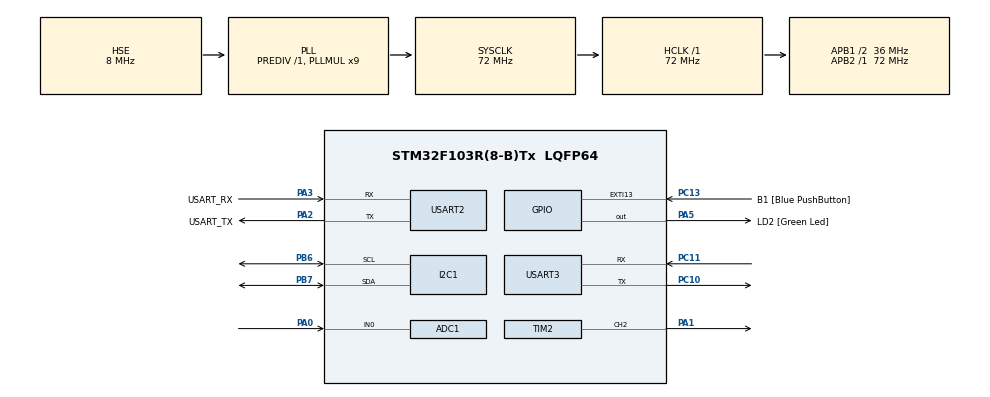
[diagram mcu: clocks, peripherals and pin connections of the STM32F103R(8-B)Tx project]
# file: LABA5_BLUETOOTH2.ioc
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ADC1.Channel-2\#ChannelRegularConversion=ADC_CHANNEL_0
ADC1.ContinuousConvMode=DISABLE
ADC1.ExternalTrigConv=ADC_EXTERNALTRIGCONV_T2_CC2
ADC1.NbrOfConversion=1
ADC1.NbrOfConversionFlag=1
ADC1.Rank-2\#ChannelRegularConversion=1
ADC1.SamplingTime-2\#ChannelRegularConversion=ADC_SAMPLETIME_239CYCLES_5
ADC1.master=1
Dma.ADC1.1.Direction=DMA_PERIPH_TO_MEMORY
Dma.ADC1.1.Instance=DMA1_Channel1
Dma.ADC1.1.MemDataAlignment=DMA_MDATAALIGN_HALFWORD
Dma.ADC1.1.MemInc=DMA_MINC_ENABLE
Dma.ADC1.1.Mode=DMA_CIRCULAR
Dma.ADC1.1.PeriphDataAlignment=DMA_PDATAALIGN_HALFWORD
Dma.ADC1.1.PeriphInc=DMA_PINC_DISABLE
Dma.ADC1.1.Priority=DMA_PRIORITY_MEDIUM
Dma.Request0=USART2_TX
Dma.Request1=ADC1
Dma.Request2=USART3_RX
Dma.Request3=USART3_TX
Dma.USART2_TX.0.Direction=DMA_MEMORY_TO_PERIPH
Dma.USART2_TX.0.Instance=DMA1_Channel7
Dma.USART2_TX.0.MemDataAlignment=DMA_MDATAALIGN_BYTE
Dma.USART2_TX.0.MemInc=DMA_MINC_ENABLE
Dma.USART2_TX.0.Mode=DMA_NORMAL
Dma.USART2_TX.0.PeriphDataAlignment=DMA_PDATAALIGN_BYTE
Dma.USART2_TX.0.PeriphInc=DMA_PINC_DISABLE
Dma.USART2_TX.0.Priority=DMA_PRIORITY_LOW
Dma.USART3_RX.2.Direction=DMA_PERIPH_TO_MEMORY
Dma.USART3_RX.2.Instance=DMA1_Channel3
Dma.USART3_RX.2.MemDataAlignment=DMA_MDATAALIGN_BYTE
Dma.USART3_RX.2.MemInc=DMA_MINC_ENABLE
Dma.USART3_RX.2.Mode=DMA_CIRCULAR
Dma.USART3_RX.2.PeriphDataAlignment=DMA_PDATAALIGN_BYTE
Dma.USART3_RX.2.PeriphInc=DMA_PINC_DISABLE
Dma.USART3_RX.2.Priority=DMA_PRIORITY_LOW
Dma.USART3_TX.3.Direction=DMA_MEMORY_TO_PERIPH
Dma.USART3_TX.3.Instance=DMA1_Channel2
Dma.USART3_TX.3.MemDataAlignment=DMA_MDATAALIGN_BYTE
Dma.USART3_TX.3.MemInc=DMA_MINC_ENABLE
Dma.USART3_TX.3.Mode=DMA_NORMAL
Dma.USART3_TX.3.PeriphDataAlignment=DMA_PDATAALIGN_BYTE
Dma.USART3_TX.3.PeriphInc=DMA_PINC_DISABLE
Dma.USART3_TX.3.Priority=DMA_PRIORITY_LOW
Mcu.Family=STM32F1
Mcu.Name=STM32F103R(8-B)Tx
Mcu.Package=LQFP64
NVIC.DMA1_Channel1_IRQn=true\:0\:0\:false\:false\:true\:false\:true\:true
NVIC.DMA1_Channel2_IRQn=true\:0\:0\:false\:false\:true\:false\:true\:true
NVIC.DMA1_Channel3_IRQn=true\:0\:0\:false\:false\:true\:false\:true\:true
NVIC.DMA1_Channel7_IRQn=true\:0\:0\:false\:false\:true\:false\:true\:true
NVIC.EXTI15_10_IRQn=true\:0\:0\:false\:false\:true\:true\:true\:true
NVIC.PriorityGroup=NVIC_PRIORITYGROUP_4
NVIC.TIM2_IRQn=true\:0\:0\:false\:false\:true\:true\:true\:true
NVIC.USART2_IRQn=true\:0\:0\:false\:false\:true\:true\:true\:true
NVIC.USART3_IRQn=true\:0\:0\:false\:false\:true\:true\:true\:true
PA0-WKUP.Signal=ADCx_IN0
PA1.Signal=S_TIM2_CH2
PA13.GPIO_Label=TMS
PA13.Mode=Serial_Wire
PA13.Signal=SYS_JTMS-SWDIO
PA14.GPIO_Label=TCK
PA14.Mode=Serial_Wire
PA14.Signal=SYS_JTCK-SWCLK
PA2.GPIO_Label=USART_TX
PA2.GPIO_Mode=GPIO_MODE_AF_PP
PA2.GPIO_PuPd=GPIO_NOPULL
PA2.GPIO_Speed=GPIO_SPEED_FREQ_LOW
PA2.Mode=Asynchronous
PA2.Signal=USART2_TX
PA3.GPIO_Label=USART_RX
PA3.GPIO_Mode=GPIO_MODE_AF_PP
PA3.GPIO_PuPd=GPIO_NOPULL
PA3.GPIO_Speed=GPIO_SPEED_FREQ_LOW
PA3.Mode=Asynchronous
PA3.Signal=USART2_RX
PA5.GPIO_Label=LD2 [Green Led]
PA5.GPIO_ModeDefaultOutputPP=GPIO_MODE_OUTPUT_PP
PA5.GPIO_PuPd=GPIO_NOPULL
PA5.GPIO_Speed=GPIO_SPEED_FREQ_LOW
PA5.Signal=GPIO_Output
PB3.GPIO_Label=SWO
PB3.Signal=SYS_JTDO-TRACESWO
PB6.Mode=I2C
PB6.Signal=I2C1_SCL
PB7.Mode=I2C
PB7.Signal=I2C1_SDA
PC10.Mode=Asynchronous
PC10.Signal=USART3_TX
PC11.Mode=Asynchronous
PC11.Signal=USART3_RX
PC13-TAMPER-RTC.GPIO_Label=B1 [Blue PushButton]
PC13-TAMPER-RTC.GPIO_PuPd=GPIO_NOPULL
PC13-TAMPER-RTC.Signal=GPXTI13
PC14-OSC32_IN.Mode=LSE-External-Oscillator
PC14-OSC32_IN.Signal=RCC_OSC32_IN
PC15-OSC32_OUT.Mode=LSE-External-Oscillator
PC15-OSC32_OUT.Signal=RCC_OSC32_OUT
PD0-OSC_IN.Mode=HSE-External-Oscillator
PD0-OSC_IN.Signal=RCC_OSC_IN
PD1-OSC_OUT.Mode=HSE-External-Oscillator
PD1-OSC_OUT.Signal=RCC_OSC_OUT
ProjectManager.HeapSize=0x200
ProjectManager.StackSize=0x400
ProjectManager.TargetToolchain=MDK-ARM V5.32
RCC.ADCPresc=RCC_ADCPCLK2_DIV6
RCC.AHBFreq_Value=72000000
RCC.APB1CLKDivider=RCC_HCLK_DIV2
RCC.APB1Freq_Value=36000000
RCC.APB1TimFreq_Value=72000000
RCC.APB2Freq_Value=72000000
RCC.APB2TimFreq_Value=72000000
RCC.HCLKFreq_Value=72000000
RCC.PLLMUL=RCC_PLL_MUL9
RCC.PLLSourceVirtual=RCC_PLLSOURCE_HSE
RCC.RTCClockSelection=RCC_RTCCLKSOURCE_LSE
RCC.SYSCLKFreq_VALUE=72000000
RCC.SYSCLKSource=RCC_SYSCLKSOURCE_PLLCLK
RCC.USBFreq_Value=72000000
SH.ADCx_IN0.0=ADC1_IN0,IN0
SH.S_TIM2_CH2.0=TIM2_CH2,Output Compare2 CH2
TIM2.Channel-Output\ Compare2\ CH2=TIM_CHANNEL_2
TIM2.OCMode_2=TIM_OCMODE_TOGGLE
TIM2.Period=1632
TIM2.Pulse-Output\ Compare2\ CH2=1
TIM2.TIM_MasterOutputTrigger=TIM_TRGO_UPDATE
TIM2.TIM_MasterSlaveMode=TIM_MASTERSLAVEMODE_DISABLE
USART2.VirtualMode=VM_ASYNC
USART3.VirtualMode=VM_ASYNC
VP_TIM2_VS_ClockSourceINT.Mode=Internal
board=NUCLEO-F103RB

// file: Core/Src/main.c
/* USER CODE BEGIN Header */
/**
  ******************************************************************************
  * @file           : main.c
  * @brief          : FFT Audio Spectrum Analyzer with 16 frequency bands (44.1 kHz DMA) + Bluetooth
  ******************************************************************************
  */
/* USER CODE END Header */
#include "main.h"

/* USER CODE BEGIN Includes */
#include "lcd_i2c.h"
#include <string.h>
#include <stdio.h>
#include <math.h>
/* USER CODE END Includes */

/* USER CODE BEGIN PD */
#define FFT_SIZE 512
#define NUM_BANDS 16
#define PI 3.14159265358979323846f

#define TIM2_CLOCK_FREQ 72000000.0f
#define TIM2_PERIOD 1632
#define REAL_SAMPLE_RATE_VAL 44100.429f
float SAMPLE_RATE = REAL_SAMPLE_RATE_VAL;
float FREQ_RESOLUTION;
float CALIBRATION_FACTOR = 1.0f;

#define BT_CMD_START 'S'
#define BT_CMD_STOP  'T'
/* USER CODE END PD */

ADC_HandleTypeDef hadc1;
DMA_HandleTypeDef hdma_adc1;

I2C_HandleTypeDef hi2c1;

TIM_HandleTypeDef htim2;

UART_HandleTypeDef huart2;
UART_HandleTypeDef huart3;
DMA_HandleTypeDef hdma_usart2_tx;
DMA_HandleTypeDef hdma_usart3_rx;
DMA_HandleTypeDef hdma_usart3_tx;

/* USER CODE BEGIN PV */
uint16_t adc_dma_buffer[FFT_SIZE * 2];
volatile uint32_t adc_buffer_index = 0;
volatile uint8_t adc_buffer_ready = 0;

char uart_buffer[64];
volatile uint8_t dma_complete = 1;

volatile uint8_t sensitivity_mode = 0;
volatile uint8_t mode_changed = 0;
volatile uint32_t last_button_time = 0;

float fft_input[FFT_SIZE];
float fft_real[FFT_SIZE];
float fft_imag[FFT_SIZE];
float fft_magnitude[FFT_SIZE/2];

uint8_t bar_peaks[NUM_BANDS] = {0};
float bar_peaks_smooth[NUM_BANDS] = {0};

float cos_table[FFT_SIZE];
float sin_table[FFT_SIZE];

#define FREQ_AVERAGE_SIZE 2
float freq_history[FREQ_AVERAGE_SIZE] = {0};
uint8_t freq_history_index = 0;
uint8_t freq_history_count = 0;

float dc_offset = 2048.0f;
float alpha_dc = 0.95f;

float noise_floor[NUM_BANDS] = {0};
float noise_gate_threshold = 0.2f;
uint8_t noise_calibrated = 0;

uint8_t bar_chars[8][8] = {
    {0x00, 0x00, 0x00, 0x00, 0x00, 0x00, 0x00, 0x1F},
    {0x00, 0x00, 0x00, 0x00, 0x00, 0x00, 0x1F, 0x1F},
    {0x00, 0x00, 0x00, 0x00, 0x00, 0x1F, 0x1F, 0x1F},
    {0x00, 0x00, 0x00, 0x00, 0x1F, 0x1F, 0x1F, 0x1F},
    {0x00, 0x00, 0x00, 0x1F, 0x1F, 0x1F, 0x1F, 0x1F},
    {0x00, 0x00, 0x1F, 0x1F, 0x1F, 0x1F, 0x1F, 0x1F},
    {0x00, 0x1F, 0x1F, 0x1F, 0x1F, 0x1F, 0x1F, 0x1F},
    {0x1F, 0x1F, 0x1F, 0x1F, 0x1F, 0x1F, 0x1F, 0x1F}
};

uint16_t band_limits[NUM_BANDS + 1] = {0};

volatile uint8_t bt_recording = 0;
volatile uint8_t bt_rx_byte = 0;
volatile uint8_t bt_rx_buffer[64];
volatile uint8_t bt_rx_index = 0;
volatile uint8_t bt_cmd_received = 0;

void Recalculate_Band_Limits(void) {
    float min_freq = 80.0f;
    float max_freq = 8000.0f;

    float calibrated_sample_rate = SAMPLE_RATE * CALIBRATION_FACTOR;
    float nyquist = calibrated_sample_rate / 2.0f;
    if(max_freq > nyquist) max_freq = nyquist;

    float log_min = logf(min_freq);
    float log_max = logf(max_freq);

    for(int i = 0; i <= NUM_BANDS; i++) {
        float t = (float)i / (float)NUM_BANDS;
        float freq = expf(log_min + t * (log_max - log_min));
        uint16_t bin = (uint16_t)roundf(freq / FREQ_RESOLUTION);

        if(bin >= FFT_SIZE/2) {
            bin = FFT_SIZE/2 - 1;
        }

        if(i > 0 && bin <= band_limits[i-1]) {
            bin = band_limits[i-1] + 1;
        }

        if(bin > 255) {
            band_limits[i] = 255;
        } else {
            band_limits[i] = (uint8_t)bin;
        }
    }
}
/* USER CODE END PV */

void SystemClock_Config(void);
static void MX_GPIO_Init(void);
static void MX_DMA_Init(void);
static void MX_I2C1_Init(void);
static void MX_USART2_UART_Init(void);
static void MX_ADC1_Init(void);
static void MX_TIM2_Init(void);
static void MX_USART3_UART_Init(void);
/* USER CODE BEGIN PFP */
void Setup_Custom_Chars(void);
void Init_FFT_Tables(void);
void Perform_FFT(void);
void Calculate_Frequency_Bands(float* bands);
void Recalculate_Band_Limits(void);
void Calibrate_Frequency(float known_freq, float measured_freq);
float Parabolic_Interpolation(int peak_bin, float* magnitude);
float Logarithmic_Interpolation(int peak_bin, float* magnitude);
float Enhanced_Peak_Frequency(int peak_bin, float* magnitude);
float Average_Frequency(float new_freq);
void Send_Frequency_Bluetooth(float frequency);
void Process_Bluetooth_Command(uint8_t cmd);
/* USER CODE END PFP */

/* USER CODE BEGIN 0 */

void HAL_UART_TxCpltCallback(UART_HandleTypeDef *huart)
{
    if (huart->Instance == USART2) {
        dma_complete = 1;
    }
}

void HAL_GPIO_EXTI_Callback(uint16_t GPIO_Pin)
{
    if(GPIO_Pin == B1_Pin) {
        uint32_t current_time = HAL_GetTick();
        if ((current_time - last_button_time) > 250) {
            sensitivity_mode++;
            if (sensitivity_mode > 2) sensitivity_mode = 0;
            mode_changed = 1;
            last_button_time = current_time;
        }
    }
}

void HAL_ADC_ConvHalfCpltCallback(ADC_HandleTypeDef* hadc)
{
    if(hadc->Instance == ADC1) {
        adc_buffer_index = 0;
        adc_buffer_ready = 1;
    }
}

void HAL_ADC_ConvCpltCallback(ADC_HandleTypeDef* hadc)
{
    if(hadc->Instance == ADC1) {
        adc_buffer_index = FFT_SIZE;
        adc_buffer_ready = 1;
    }
}

void HAL_UART_RxCpltCallback(UART_HandleTypeDef *huart)
{
    if(huart->Instance == USART3) {
        uint8_t received_byte = bt_rx_byte;

        sprintf(uart_buffer, "[BT RX] 0x%02X ('%c')\r\n", received_byte,
                (received_byte >= 32 && received_byte < 127) ? received_byte : '?');
        HAL_UART_Transmit(&huart2, (uint8_t*)uart_buffer, strlen(uart_buffer), 100);

        if(received_byte == '\n' || received_byte == '\r') {
        } else {
            if(received_byte == 'S' || received_byte == 'T') {
                Process_Bluetooth_Command(received_byte);
            } else {
                sprintf(uart_buffer, "[BT] Unknown byte: 0x%02X\r\n", received_byte);
                HAL_UART_Transmit(&huart2, (uint8_t*)uart_buffer, strlen(uart_buffer), 100);
            }
        }

        HAL_UART_Receive_IT(&huart3, (uint8_t*)&bt_rx_byte, 1);
    }
}

void Setup_Custom_Chars(void)
{
    for (int i = 0; i < 8; i++) {
        LCD_CreateChar(i, bar_chars[i]);
    }
}

void Init_FFT_Tables(void)
{
    for (int i = 0; i < FFT_SIZE; i++) {
        float angle = 2.0f * PI * i / FFT_SIZE;
        cos_table[i] = cosf(angle);
        sin_table[i] = sinf(angle);
    }
}

void Perform_FFT(void)
{
    for (int i = 0; i < FFT_SIZE; i++) {
        fft_real[i] = fft_input[i];
        fft_imag[i] = 0.0f;
    }

    int j = 0;
    for (int i = 1; i < FFT_SIZE - 1; i++) {
        int k = FFT_SIZE >> 1;
        while (k <= j) {
            j -= k;
            k >>= 1;
        }
        j += k;

        if (i < j) {
            float temp_real = fft_real[i];
            float temp_imag = fft_imag[i];
            fft_real[i] = fft_real[j];
            fft_imag[i] = fft_imag[j];
            fft_real[j] = temp_real;
            fft_imag[j] = temp_imag;
        }
    }

    for (int stage = 1; stage <= 9; stage++) {
        int block_size = 1 << stage;
        int half_block = block_size >> 1;
        int step = FFT_SIZE / block_size;

        for (int block = 0; block < FFT_SIZE; block += block_size) {
            for (int i = 0; i < half_block; i++) {
                int idx1 = block + i;
                int idx2 = idx1 + half_block;
                int twiddle_idx = i * step;

                float cos_val = cos_table[twiddle_idx];
                float sin_val = -sin_table[twiddle_idx];

                float tr = fft_real[idx2] * cos_val - fft_imag[idx2] * sin_val;
                float ti = fft_real[idx2] * sin_val + fft_imag[idx2] * cos_val;

                fft_real[idx2] = fft_real[idx1] - tr;
                fft_imag[idx2] = fft_imag[idx1] - ti;
                fft_real[idx1] = fft_real[idx1] + tr;
                fft_imag[idx1] = fft_imag[idx1] + ti;
            }
        }
    }

    for (int i = 0; i < FFT_SIZE / 2; i++) {
        float real = fft_real[i];
        float imag = fft_imag[i];
        fft_magnitude[i] = sqrtf(real * real + imag * imag) / FFT_SIZE;
    }

    fft_magnitude[0] = 0.0f;
}

void Calculate_Frequency_Bands(float* bands)
{
    for (int band = 0; band < NUM_BANDS; band++) {
        uint8_t start = band_limits[band];
        uint8_t end = band_limits[band + 1];

        float max_val = 0.0f;

        for (int i = start; i < end && i < FFT_SIZE/2; i++) {
            if (fft_magnitude[i] > max_val) {
                max_val = fft_magnitude[i];
            }
        }

        bands[band] = max_val;
    }
}

float Parabolic_Interpolation(int peak_bin, float* magnitude)
{
    if (peak_bin <= 0 || peak_bin >= FFT_SIZE/2 - 1) {
        return 0.0f;
    }

    float y0 = magnitude[peak_bin - 1];
    float y1 = magnitude[peak_bin];
    float y2 = magnitude[peak_bin + 1];

    if (y1 <= y0 || y1 <= y2) {
        return 0.0f;
    }

    float denominator = y0 - 2.0f * y1 + y2;
    if (fabsf(denominator) < 0.0001f) {
        return 0.0f;
    }

    float offset = 0.5f * (y0 - y2) / denominator;

    if (offset > 0.5f) offset = 0.5f;
    if (offset < -0.5f) offset = -0.5f;

    return offset;
}

float Logarithmic_Interpolation(int peak_bin, float* magnitude)
{
    if (peak_bin <= 0 || peak_bin >= FFT_SIZE/2 - 1) {
        return 0.0f;
    }

    float y0 = magnitude[peak_bin - 1];
    float y1 = magnitude[peak_bin];
    float y2 = magnitude[peak_bin + 1];

    if (y1 <= 0.0f || y0 <= 0.0f || y2 <= 0.0f) {
        return Parabolic_Interpolation(peak_bin, magnitude);
    }

    if (y1 <= y0 || y1 <= y2) {
        return 0.0f;
    }

    float log_y0 = logf(y0);
    float log_y1 = logf(y1);
    float log_y2 = logf(y2);

    float denominator = log_y0 - 2.0f * log_y1 + log_y2;
    if (fabsf(denominator) < 0.001f) {
        return Parabolic_Interpolation(peak_bin, magnitude);
    }

    float offset = 0.5f * (log_y0 - log_y2) / denominator;

    if (offset > 0.5f) offset = 0.5f;
    if (offset < -0.5f) offset = -0.5f;

    return offset;
}

float Enhanced_Peak_Frequency(int peak_bin, float* magnitude)
{
    if (peak_bin <= 0 || peak_bin >= FFT_SIZE/2 - 1) {
        return (float)peak_bin;
    }

    float y0 = magnitude[peak_bin - 1];
    float y1 = magnitude[peak_bin];
    float y2 = magnitude[peak_bin + 1];

    float peak_ratio = (y0 + y2) / (2.0f * y1);
    if (peak_ratio > 0.9f) {
        return (float)peak_bin + Parabolic_Interpolation(peak_bin, magnitude);
    }

    float log_offset = Logarithmic_Interpolation(peak_bin, magnitude);
    float para_offset = Parabolic_Interpolation(peak_bin, magnitude);

    float weight = 1.0f - peak_ratio;
    float combined_offset = weight * log_offset + (1.0f - weight) * para_offset;

    return (float)peak_bin + combined_offset;
}

float Average_Frequency(float new_freq)
{
    freq_history[freq_history_index] = new_freq;
    freq_history_index = (freq_history_index + 1) % FREQ_AVERAGE_SIZE;

    if (freq_history_count < FREQ_AVERAGE_SIZE) {
        freq_history_count++;
    }

    float sum = 0.0f;
    for (uint8_t i = 0; i < freq_history_count; i++) {
        sum += freq_history[i];
    }

    return sum / (float)freq_history_count;
}

void Calibrate_Frequency(float known_freq, float measured_freq)
{
    if (measured_freq > 0.1f && known_freq > 0.1f) {
        CALIBRATION_FACTOR = known_freq / measured_freq;
        FREQ_RESOLUTION = (SAMPLE_RATE / FFT_SIZE) * CALIBRATION_FACTOR;

        sprintf(uart_buffer, "=== CALIBRATION UPDATE ===\r\n");
        HAL_UART_Transmit(&huart2, (uint8_t*)uart_buffer, strlen(uart_buffer), 100);
        sprintf(uart_buffer, "Known: %.2f Hz, Measured: %.2f Hz\r\n", known_freq, measured_freq);
        HAL_UART_Transmit(&huart2, (uint8_t*)uart_buffer, strlen(uart_buffer), 100);
        sprintf(uart_buffer, "Calibration Factor: %.4f\r\n", CALIBRATION_FACTOR);
        HAL_UART_Transmit(&huart2, (uint8_t*)uart_buffer, strlen(uart_buffer), 100);
        sprintf(uart_buffer, "New Freq Resolution: %.2f Hz/bin\r\n", FREQ_RESOLUTION);
        HAL_UART_Transmit(&huart2, (uint8_t*)uart_buffer, strlen(uart_buffer), 100);
        sprintf(uart_buffer, "==========================\r\n\r\n");
        HAL_UART_Transmit(&huart2, (uint8_t*)uart_buffer, strlen(uart_buffer), 100);
    }
}

void Process_Bluetooth_Command(uint8_t cmd)
{
    if(cmd == BT_CMD_START || cmd == 'S') {
        bt_recording = 1;
        const char* ack = "START_OK\r\n";
        HAL_UART_Transmit(&huart3, (uint8_t*)ack, strlen(ack), 50);
        sprintf(uart_buffer, "[BT] START command received\r\n");
        HAL_UART_Transmit(&huart2, (uint8_t*)uart_buffer, strlen(uart_buffer), 50);
    }
    else if(cmd == BT_CMD_STOP || cmd == 'T') {
        bt_recording = 0;

        const char* ack = "STOP_OK\r\n";
        HAL_UART_Transmit(&huart3, (uint8_t*)ack, strlen(ack), 50);
        sprintf(uart_buffer, "[BT] STOP command received, recording=%d\r\n", bt_recording);
        HAL_UART_Transmit(&huart2, (uint8_t*)uart_buffer, strlen(uart_buffer), 50);
    } else {
        sprintf(uart_buffer, "[BT] Unknown command: 0x%02X ('%c')\r\n", cmd, (cmd >= 32 && cmd < 127) ? cmd : '?');
        HAL_UART_Transmit(&huart2, (uint8_t*)uart_buffer, strlen(uart_buffer), 100);
    }
}

void Send_Frequency_Bluetooth(float frequency)
{
    if(!bt_recording) return;

    char freq_buffer[32];
    int len = sprintf(freq_buffer, "FREQ:%.2f\r\n", frequency);
    HAL_UART_Transmit(&huart3, (uint8_t*)freq_buffer, len, 10);
}

/* USER CODE END 0 */

int main(void)
{

  /* MCU Configuration--------------------------------------------------------*/

  /* Reset of all peripherals, Initializes the Flash interface and the Systick. */
  HAL_Init();

  /* Configure the system clock */
  SystemClock_Config();

  /* Initialize all configured peripherals */
  MX_GPIO_Init();
  MX_DMA_Init();
  MX_I2C1_Init();
  MX_USART2_UART_Init();
  MX_ADC1_Init();
  MX_TIM2_Init();
  MX_USART3_UART_Init();
  /* USER CODE BEGIN 2 */
  HAL_Delay(100);
  LCD_Init(&hi2c1);
  LCD_Clear();
  Setup_Custom_Chars();
  Init_FFT_Tables();

  LCD_SetCursor(0, 0);
  LCD_Print("FFT Spectrum");
  LCD_SetCursor(1, 0);
  LCD_Print("44.1 kHz Ready");
  HAL_Delay(1500);
  LCD_Clear();

  FREQ_RESOLUTION = (SAMPLE_RATE / FFT_SIZE) * CALIBRATION_FACTOR;

  Recalculate_Band_Limits();

  LCD_SetCursor(0, 0);
  LCD_Print("Sample Rate:");
  LCD_SetCursor(1, 0);
  char rate_buf[17];
  sprintf(rate_buf, "%.1f kHz", (SAMPLE_RATE * CALIBRATION_FACTOR) / 1000.0f);
  LCD_Print(rate_buf);
  HAL_Delay(2000);

  HAL_UART_Receive_IT(&huart3, (uint8_t*)&bt_rx_byte, 1);

  if (HAL_ADC_Start_DMA(&hadc1, (uint32_t*)adc_dma_buffer, FFT_SIZE * 2) != HAL_OK) {
    Error_Handler();
  }

  HAL_TIM_Base_Start(&htim2);
  HAL_TIM_OC_Start(&htim2, TIM_CHANNEL_2);

  LCD_SetCursor(0, 0);
  LCD_Print("Calibrating");
  LCD_SetCursor(1, 0);
  LCD_Print("Noise Floor...");

  HAL_Delay(500);

  for(int calib = 0; calib < 10; calib++) {
    while(!adc_buffer_ready) {
      HAL_Delay(10);
    }
    adc_buffer_ready = 0;

    uint16_t* current_buffer = &adc_dma_buffer[adc_buffer_index];
    for(int i = 0; i < FFT_SIZE; i++) {
      uint16_t raw = current_buffer[i];
      dc_offset = alpha_dc * dc_offset + (1.0f - alpha_dc) * raw;
      float centered = (float)raw - dc_offset;
      float window = 0.5f * (1.0f - cosf(2.0f * PI * i / FFT_SIZE));
      fft_input[i] = centered * window;
    }

    Perform_FFT();
    float frequency_bands[NUM_BANDS];
    Calculate_Frequency_Bands(frequency_bands);

    for(int i = 0; i < NUM_BANDS; i++) {
      noise_floor[i] += frequency_bands[i];
    }
  }

  for(int i = 0; i < NUM_BANDS; i++) {
    noise_floor[i] = (noise_floor[i] / 10.0f) * 1.5f;
  }
  noise_calibrated = 1;

  LCD_Clear();
  LCD_SetCursor(0, 0);
  LCD_Print("Calibration");
  LCD_SetCursor(1, 0);
  LCD_Print("Complete!");
  HAL_Delay(1000);
  LCD_Clear();

  /* USER CODE END 2 */

  /* Infinite loop */
  /* USER CODE BEGIN WHILE */
  float frequency_bands[NUM_BANDS];

  while (1)
  {
    /* USER CODE END WHILE */

    /* USER CODE BEGIN 3 */

    if (mode_changed) {
      LCD_Clear();
      LCD_SetCursor(0, 0);
      LCD_Print("Mode Changed:");
      LCD_SetCursor(1, 0);
      if (sensitivity_mode == 0)
        LCD_Print(">> AUTO SCALE");
      else if (sensitivity_mode == 1)
        LCD_Print(">> MANUAL LOW");
      else if (sensitivity_mode == 2)
        LCD_Print(">> MANUAL HIGH");

      HAL_Delay(1000);
      LCD_Clear();

      for(int i = 0; i < NUM_BANDS; i++) {
        bar_peaks[i] = 0;
        bar_peaks_smooth[i] = 0;
      }
      mode_changed = 0;
    }

    if (adc_buffer_ready) {
      adc_buffer_ready = 0;

      uint16_t* current_buffer = &adc_dma_buffer[adc_buffer_index];

      for(int i = 0; i < FFT_SIZE; i++) {
        uint16_t raw = current_buffer[i];

        dc_offset = alpha_dc * dc_offset + (1.0f - alpha_dc) * raw;

        float centered = (float)raw - dc_offset;

        float window = 0.5f * (1.0f - cosf(2.0f * PI * i / FFT_SIZE));
        fft_input[i] = centered * window;
      }

      Perform_FFT();

      Calculate_Frequency_Bands(frequency_bands);

      for(int i = 0; i < NUM_BANDS; i++) {
        frequency_bands[i] -= noise_floor[i];
        if(frequency_bands[i] < 0) {
          frequency_bands[i] = 0;
        }
      }

      float max_magnitude = 0.0f;
      for(int i = 0; i < NUM_BANDS; i++) {
        if (frequency_bands[i] > max_magnitude) {
          max_magnitude = frequency_bands[i];
        }
      }

      float scale_factor = 1.0f;

      if (sensitivity_mode == 0) {
        if (max_magnitude > 1.0f) {
          scale_factor = 16.0f / max_magnitude;
        } else if (max_magnitude > 0.1f) {
          scale_factor = 16.0f;
        } else {
          scale_factor = 160.0f;
        }
      } else if (sensitivity_mode == 1) {
        scale_factor = 2.0f;
      } else {
        scale_factor = 20.0f;
      }

      char row0[17];
      char row1[17];

      for(int x = 0; x < NUM_BANDS; x++) {
        float scaled_value = frequency_bands[x] * scale_factor;

        if(scaled_value < 0.5f) {
          scaled_value = 0;
        }

        if (scaled_value > bar_peaks_smooth[x]) {
          bar_peaks_smooth[x] = scaled_value;
        } else {
          bar_peaks_smooth[x] *= 0.80f;
        }

        uint16_t height_pixels = (uint16_t)(bar_peaks_smooth[x]);
        if (height_pixels > 16) height_pixels = 16;

        bar_peaks[x] = (uint8_t)height_pixels;
        uint8_t draw_height = bar_peaks[x];

        if (draw_height == 0) {
          row1[x] = ' ';
          row0[x] = ' ';
        } else if (draw_height <= 8) {
          row1[x] = (char)(draw_height - 1);
          row0[x] = ' ';
        } else {
          row1[x] = (char)7;
          uint8_t top_pixels = draw_height - 8;
          row0[x] = (char)(top_pixels - 1);
        }
      }

      row0[16] = 0;
      row1[16] = 0;

      LCD_SetCursor(0, 0);
      for(int i = 0; i < 16; i++) {
        LCD_PrintChar(row0[i]);
      }
      LCD_SetCursor(1, 0);
      for(int i = 0; i < 16; i++) {
        LCD_PrintChar(row1[i]);
      }

      if(bt_recording) {
        if(max_magnitude > 0.3f) {
          int max_band = 0;
          float max_band_val = 0;
          for(int i = 0; i < NUM_BANDS; i++) {
            if(frequency_bands[i] > max_band_val) {
              max_band_val = frequency_bands[i];
              max_band = i;
            }
          }

          int peak_bin = band_limits[max_band];
          float peak_val = 0;

          int search_start = (band_limits[max_band] > 2) ? band_limits[max_band] - 2 : 1;
          int search_end = (band_limits[max_band + 1] < FFT_SIZE/2 - 2) ? band_limits[max_band + 1] + 2 : FFT_SIZE/2 - 1;

          for(int b = search_start; b < search_end && b < FFT_SIZE/2 - 1; b++) {
            if(b > 0 && b < FFT_SIZE/2 - 1) {
              if(fft_magnitude[b] > fft_magnitude[b-1] && fft_magnitude[b] > fft_magnitude[b+1]) {
                if(fft_magnitude[b] > peak_val) {
                  peak_val = fft_magnitude[b];
                  peak_bin = b;
                }
              }
            }
          }

          if(peak_val == 0) {
            for(int b = band_limits[max_band]; b < band_limits[max_band + 1] && b < FFT_SIZE/2; b++) {
              if(fft_magnitude[b] > peak_val) {
                peak_val = fft_magnitude[b];
                peak_bin = b;
              }
            }
          }

          float exact_bin = Enhanced_Peak_Frequency(peak_bin, fft_magnitude);
          float exact_freq = exact_bin * FREQ_RESOLUTION;

          Send_Frequency_Bluetooth(exact_freq);
        } else {
          Send_Frequency_Bluetooth(0.0f);
        }
      }
    }

    HAL_Delay(10);
  }
  /* USER CODE END 3 */
}

void SystemClock_Config(void)
{
  RCC_OscInitTypeDef RCC_OscInitStruct = {0};
  RCC_ClkInitTypeDef RCC_ClkInitStruct = {0};
  RCC_PeriphCLKInitTypeDef PeriphClkInit = {0};

  /** Initializes the RCC Oscillators according to the specified parameters
  * in the RCC_OscInitTypeDef structure.
  */
  RCC_OscInitStruct.OscillatorType = RCC_OSCILLATORTYPE_HSE;
  RCC_OscInitStruct.HSEState = RCC_HSE_ON;
  RCC_OscInitStruct.HSEPredivValue = RCC_HSE_PREDIV_DIV1;
  RCC_OscInitStruct.HSIState = RCC_HSI_ON;
  RCC_OscInitStruct.PLL.PLLState = RCC_PLL_ON;
  RCC_OscInitStruct.PLL.PLLSource = RCC_PLLSOURCE_HSE;
  RCC_OscInitStruct.PLL.PLLMUL = RCC_PLL_MUL9;
  if (HAL_RCC_OscConfig(&RCC_OscInitStruct) != HAL_OK)
  {
    Error_Handler();
  }

  /** Initializes the CPU, AHB and APB buses clocks
  */
  RCC_ClkInitStruct.ClockType = RCC_CLOCKTYPE_HCLK|RCC_CLOCKTYPE_SYSCLK
                              |RCC_CLOCKTYPE_PCLK1|RCC_CLOCKTYPE_PCLK2;
  RCC_ClkInitStruct.SYSCLKSource = RCC_SYSCLKSOURCE_PLLCLK;
  RCC_ClkInitStruct.AHBCLKDivider = RCC_SYSCLK_DIV1;
  RCC_ClkInitStruct.APB1CLKDivider = RCC_HCLK_DIV2;
  RCC_ClkInitStruct.APB2CLKDivider = RCC_HCLK_DIV1;

  if (HAL_RCC_ClockConfig(&RCC_ClkInitStruct, FLASH_LATENCY_2) != HAL_OK)
  {
    Error_Handler();
  }
  PeriphClkInit.PeriphClockSelection = RCC_PERIPHCLK_ADC;
  PeriphClkInit.AdcClockSelection = RCC_ADCPCLK2_DIV6;
  if (HAL_RCCEx_PeriphCLKConfig(&PeriphClkInit) != HAL_OK)
  {
    Error_Handler();
  }
}

static void MX_ADC1_Init(void)
{

  ADC_ChannelConfTypeDef sConfig = {0};

  /** Common config
  */
  hadc1.Instance = ADC1;
  hadc1.Init.ScanConvMode = ADC_SCAN_DISABLE;
  hadc1.Init.ContinuousConvMode = DISABLE;
  hadc1.Init.DiscontinuousConvMode = DISABLE;
  hadc1.Init.ExternalTrigConv = ADC_EXTERNALTRIGCONV_T2_CC2;
  hadc1.Init.DataAlign = ADC_DATAALIGN_RIGHT;
  hadc1.Init.NbrOfConversion = 1;
  if (HAL_ADC_Init(&hadc1) != HAL_OK)
  {
    Error_Handler();
  }

  /** Configure Regular Channel
  */
  sConfig.Channel = ADC_CHANNEL_0;
  sConfig.Rank = ADC_REGULAR_RANK_1;
  sConfig.SamplingTime = ADC_SAMPLETIME_239CYCLES_5;
  if (HAL_ADC_ConfigChannel(&hadc1, &sConfig) != HAL_OK)
  {
    Error_Handler();
  }

}

static void MX_I2C1_Init(void)
{

  hi2c1.Instance = I2C1;
  hi2c1.Init.ClockSpeed = 100000;
  hi2c1.Init.DutyCycle = I2C_DUTYCYCLE_2;
  hi2c1.Init.OwnAddress1 = 0;
  hi2c1.Init.AddressingMode = I2C_ADDRESSINGMODE_7BIT;
  hi2c1.Init.DualAddressMode = I2C_DUALADDRESS_DISABLE;
  hi2c1.Init.OwnAddress2 = 0;
  hi2c1.Init.GeneralCallMode = I2C_GENERALCALL_DISABLE;
  hi2c1.Init.NoStretchMode = I2C_NOSTRETCH_DISABLE;
  if (HAL_I2C_Init(&hi2c1) != HAL_OK)
  {
    Error_Handler();
  }

}

static void MX_TIM2_Init(void)
{

  TIM_ClockConfigTypeDef sClockSourceConfig = {0};
  TIM_MasterConfigTypeDef sMasterConfig = {0};
  TIM_OC_InitTypeDef sConfigOC = {0};

  htim2.Instance = TIM2;
  htim2.Init.Prescaler = 0;
  htim2.Init.CounterMode = TIM_COUNTERMODE_UP;
  htim2.Init.Period = 1632;
  htim2.Init.ClockDivision = TIM_CLOCKDIVISION_DIV1;
  htim2.Init.AutoReloadPreload = TIM_AUTORELOAD_PRELOAD_DISABLE;
  if (HAL_TIM_Base_Init(&htim2) != HAL_OK)
  {
    Error_Handler();
  }
  sClockSourceConfig.ClockSource = TIM_CLOCKSOURCE_INTERNAL;
  if (HAL_TIM_ConfigClockSource(&htim2, &sClockSourceConfig) != HAL_OK)
  {
    Error_Handler();
  }
  if (HAL_TIM_OC_Init(&htim2) != HAL_OK)
  {
    Error_Handler();
  }
  sMasterConfig.MasterOutputTrigger = TIM_TRGO_UPDATE;
  sMasterConfig.MasterSlaveMode = TIM_MASTERSLAVEMODE_DISABLE;
  if (HAL_TIMEx_MasterConfigSynchronization(&htim2, &sMasterConfig) != HAL_OK)
  {
    Error_Handler();
  }
  sConfigOC.OCMode = TIM_OCMODE_PWM1;
  sConfigOC.Pulse = 816;
  sConfigOC.OCPolarity = TIM_OCPOLARITY_HIGH;
  sConfigOC.OCFastMode = TIM_OCFAST_DISABLE;
  if (HAL_TIM_OC_ConfigChannel(&htim2, &sConfigOC, TIM_CHANNEL_2) != HAL_OK)
  {
    Error_Handler();
  }
  HAL_TIM_MspPostInit(&htim2);

}

static void MX_USART2_UART_Init(void)
{

  huart2.Instance = USART2;
  huart2.Init.BaudRate = 115200;
  huart2.Init.WordLength = UART_WORDLENGTH_8B;
  huart2.Init.StopBits = UART_STOPBITS_1;
  huart2.Init.Parity = UART_PARITY_NONE;
  huart2.Init.Mode = UART_MODE_TX_RX;
  huart2.Init.HwFlowCtl = UART_HWCONTROL_NONE;
  huart2.Init.OverSampling = UART_OVERSAMPLING_16;
  if (HAL_UART_Init(&huart2) != HAL_OK)
  {
    Error_Handler();
  }

}

static void MX_USART3_UART_Init(void)
{

  huart3.Instance = USART3;
  huart3.Init.BaudRate = 115200;
  huart3.Init.WordLength = UART_WORDLENGTH_8B;
  huart3.Init.StopBits = UART_STOPBITS_1;
  huart3.Init.Parity = UART_PARITY_NONE;
  huart3.Init.Mode = UART_MODE_TX_RX;
  huart3.Init.HwFlowCtl = UART_HWCONTROL_NONE;
  huart3.Init.OverSampling = UART_OVERSAMPLING_16;
  if (HAL_UART_Init(&huart3) != HAL_OK)
  {
    Error_Handler();
  }

}

static void MX_DMA_Init(void)
{

  /* DMA controller clock enable */
  __HAL_RCC_DMA1_CLK_ENABLE();

  /* DMA interrupt init */
  /* DMA1_Channel1_IRQn interrupt configuration */
  HAL_NVIC_SetPriority(DMA1_Channel1_IRQn, 0, 0);
  HAL_NVIC_EnableIRQ(DMA1_Channel1_IRQn);
  /* DMA1_Channel2_IRQn interrupt configuration */
  HAL_NVIC_SetPriority(DMA1_Channel2_IRQn, 0, 0);
  HAL_NVIC_EnableIRQ(DMA1_Channel2_IRQn);
  /* DMA1_Channel3_IRQn interrupt configuration */
  HAL_NVIC_SetPriority(DMA1_Channel3_IRQn, 0, 0);
  HAL_NVIC_EnableIRQ(DMA1_Channel3_IRQn);
  /* DMA1_Channel7_IRQn interrupt configuration */
  HAL_NVIC_SetPriority(DMA1_Channel7_IRQn, 0, 0);
  HAL_NVIC_EnableIRQ(DMA1_Channel7_IRQn);

}

static void MX_GPIO_Init(void)
{
  GPIO_InitTypeDef GPIO_InitStruct = {0};

  /* GPIO Ports Clock Enable */
  __HAL_RCC_GPIOC_CLK_ENABLE();
  __HAL_RCC_GPIOD_CLK_ENABLE();
  __HAL_RCC_GPIOA_CLK_ENABLE();
  __HAL_RCC_GPIOB_CLK_ENABLE();

  /*Configure GPIO pin Output Level */
  HAL_GPIO_WritePin(LD2_GPIO_Port, LD2_Pin, GPIO_PIN_RESET);

  /*Configure GPIO pin : B1_Pin */
  GPIO_InitStruct.Pin = B1_Pin;
  GPIO_InitStruct.Mode = GPIO_MODE_IT_RISING;
  GPIO_InitStruct.Pull = GPIO_NOPULL;
  HAL_GPIO_Init(B1_GPIO_Port, &GPIO_InitStruct);

  /*Configure GPIO pin : LD2_Pin */
  GPIO_InitStruct.Pin = LD2_Pin;
  GPIO_InitStruct.Mode = GPIO_MODE_OUTPUT_PP;
  GPIO_InitStruct.Pull = GPIO_NOPULL;
  GPIO_InitStruct.Speed = GPIO_SPEED_FREQ_LOW;
  HAL_GPIO_Init(LD2_GPIO_Port, &GPIO_InitStruct);

  /* EXTI interrupt init*/
  HAL_NVIC_SetPriority(EXTI15_10_IRQn, 0, 0);
  HAL_NVIC_EnableIRQ(EXTI15_10_IRQn);

}

void Error_Handler(void)
{
  __disable_irq();
  while (1)
  {
  }
}
